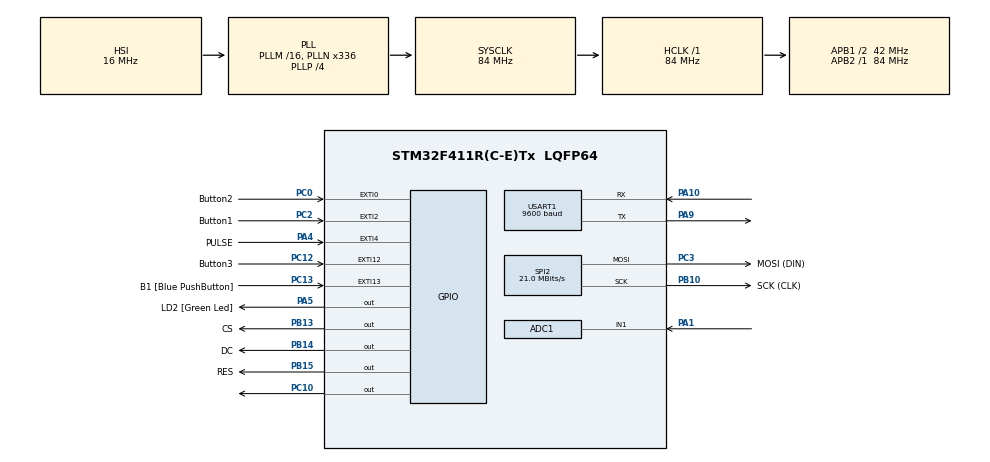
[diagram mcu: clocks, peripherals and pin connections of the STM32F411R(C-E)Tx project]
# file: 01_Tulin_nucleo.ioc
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ADC1.Channel-8\#ChannelRegularConversion=ADC_CHANNEL_1
ADC1.ClockPrescaler=ADC_CLOCK_SYNC_PCLK_DIV8
ADC1.ContinuousConvMode=ENABLE
ADC1.DMAContinuousRequests=ENABLE
ADC1.NbrOfConversionFlag=1
ADC1.Rank-8\#ChannelRegularConversion=1
ADC1.SamplingTime-8\#ChannelRegularConversion=ADC_SAMPLETIME_144CYCLES
ADC1.ScanConvMode=ENABLE
ADC1.master=1
Dma.ADC1.0.Direction=DMA_PERIPH_TO_MEMORY
Dma.ADC1.0.FIFOMode=DMA_FIFOMODE_DISABLE
Dma.ADC1.0.Instance=DMA2_Stream0
Dma.ADC1.0.MemDataAlignment=DMA_MDATAALIGN_HALFWORD
Dma.ADC1.0.MemInc=DMA_MINC_ENABLE
Dma.ADC1.0.Mode=DMA_CIRCULAR
Dma.ADC1.0.PeriphDataAlignment=DMA_PDATAALIGN_HALFWORD
Dma.ADC1.0.PeriphInc=DMA_PINC_DISABLE
Dma.ADC1.0.Priority=DMA_PRIORITY_LOW
Dma.Request0=ADC1
Dma.Request1=USART1_TX
Dma.Request2=USART1_RX
Dma.USART1_RX.2.Direction=DMA_PERIPH_TO_MEMORY
Dma.USART1_RX.2.FIFOMode=DMA_FIFOMODE_DISABLE
Dma.USART1_RX.2.Instance=DMA2_Stream2
Dma.USART1_RX.2.MemDataAlignment=DMA_MDATAALIGN_BYTE
Dma.USART1_RX.2.MemInc=DMA_MINC_ENABLE
Dma.USART1_RX.2.Mode=DMA_NORMAL
Dma.USART1_RX.2.PeriphDataAlignment=DMA_PDATAALIGN_BYTE
Dma.USART1_RX.2.PeriphInc=DMA_PINC_DISABLE
Dma.USART1_RX.2.Priority=DMA_PRIORITY_LOW
Dma.USART1_TX.1.Direction=DMA_MEMORY_TO_PERIPH
Dma.USART1_TX.1.FIFOMode=DMA_FIFOMODE_DISABLE
Dma.USART1_TX.1.Instance=DMA2_Stream7
Dma.USART1_TX.1.MemDataAlignment=DMA_MDATAALIGN_BYTE
Dma.USART1_TX.1.MemInc=DMA_MINC_ENABLE
Dma.USART1_TX.1.Mode=DMA_NORMAL
Dma.USART1_TX.1.PeriphDataAlignment=DMA_PDATAALIGN_BYTE
Dma.USART1_TX.1.PeriphInc=DMA_PINC_DISABLE
Dma.USART1_TX.1.Priority=DMA_PRIORITY_LOW
Mcu.Family=STM32F4
Mcu.Name=STM32F411R(C-E)Tx
Mcu.Package=LQFP64
NVIC.DMA2_Stream0_IRQn=true\:0\:0\:false\:false\:true\:false
NVIC.DMA2_Stream2_IRQn=true\:0\:0\:false\:false\:true\:false
NVIC.DMA2_Stream7_IRQn=true\:0\:0\:false\:false\:true\:false
NVIC.EXTI0_IRQn=true\:0\:0\:false\:false\:true\:true
NVIC.EXTI2_IRQn=true\:0\:0\:false\:false\:true\:true
NVIC.EXTI4_IRQn=true\:0\:0\:false\:false\:true\:true
NVIC.PriorityGroup=NVIC_PRIORITYGROUP_0
NVIC.TIM1_UP_TIM10_IRQn=true\:0\:0\:false\:false\:true\:true
NVIC.USART1_IRQn=true\:0\:0\:false\:false\:true\:true
PA1.Signal=ADCx_IN1
PA10.Mode=Asynchronous
PA10.Signal=USART1_RX
PA13.GPIO_Label=TMS
PA13.Signal=SYS_JTMS-SWDIO
PA14.GPIO_Label=TCK
PA14.Signal=SYS_JTCK-SWCLK
PA2.GPIO_Label=USART_TX
PA2.Signal=USART2_TX
PA3.GPIO_Label=USART_RX
PA3.Signal=USART2_RX
PA4.GPIO_Label=PULSE
PA4.Signal=GPXTI4
PA5.GPIO_Label=LD2 [Green Led]
PA5.Signal=GPIO_Output
PA9.Mode=Asynchronous
PA9.Signal=USART1_TX
PB10.GPIO_Label=SCK (CLK)
PB10.Mode=TX_Only_Simplex_Unidirect_Master
PB10.Signal=SPI2_SCK
PB13.GPIO_Label=CS
PB13.Signal=GPIO_Output
PB14.GPIO_Label=DC
PB14.Signal=GPIO_Output
PB15.GPIO_Label=RES
PB15.Signal=GPIO_Output
PB3.GPIO_Label=SWO
PB3.Signal=SYS_JTDO-SWO
PC0.GPIO_Label=Button2
PC0.Signal=GPXTI0
PC10.Signal=GPIO_Output
PC12.GPIO_Label=Button3
PC12.Signal=GPXTI12
PC13-ANTI_TAMP.GPIO_Label=B1 [Blue PushButton]
PC13-ANTI_TAMP.GPIO_ModeDefaultEXTI=GPIO_MODE_IT_FALLING
PC13-ANTI_TAMP.Signal=GPXTI13
PC14-OSC32_IN.Signal=RCC_OSC32_IN
PC15-OSC32_OUT.Signal=RCC_OSC32_OUT
PC2.GPIO_Label=Button1
PC2.Signal=GPXTI2
PC3.GPIO_Label=MOSI (DIN)
PC3.Mode=TX_Only_Simplex_Unidirect_Master
PC3.Signal=SPI2_MOSI
PH0\ -\ OSC_IN.Signal=RCC_OSC_IN
PH1\ -\ OSC_OUT.Signal=RCC_OSC_OUT
ProjectManager.HeapSize=0x200
ProjectManager.StackSize=0x400
ProjectManager.TargetToolchain=MDK-ARM V5
RCC.48MHZClocksFreq_Value=84000000
RCC.AHBFreq_Value=84000000
RCC.APB1CLKDivider=RCC_HCLK_DIV2
RCC.APB1Freq_Value=42000000
RCC.APB1TimFreq_Value=84000000
RCC.APB2Freq_Value=84000000
RCC.APB2TimFreq_Value=84000000
RCC.CortexFreq_Value=84000000
RCC.FLatency-AdvancedSettings=FLASH_LATENCY_2
RCC.HCLKFreq_Value=84000000
RCC.HSE_VALUE=8000000
RCC.HSI_VALUE=16000000
RCC.LSE_VALUE=32768
RCC.PLLN=336
RCC.PLLP=RCC_PLLP_DIV4
RCC.SYSCLKFreq_VALUE=84000000
RCC.SYSCLKSource=RCC_SYSCLKSOURCE_PLLCLK
RCC.VCOOutputFreq_Value=336000000
SH.ADCx_IN1.0=ADC1_IN1,IN1
SPI2.CLKPhase=SPI_PHASE_2EDGE
SPI2.CLKPolarity=SPI_POLARITY_HIGH
SPI2.CalculateBaudRate=21.0 MBits/s
SPI2.Direction=SPI_DIRECTION_2LINES
SPI2.Mode=SPI_MODE_MASTER
SPI2.VirtualType=VM_MASTER
TIM10.Period=999
TIM10.Prescaler=83
USART1.BaudRate=9600
USART1.VirtualMode=VM_ASYNC
VP_TIM10_VS_ClockSourceINT.Mode=Enable_Timer
board=NUCLEO-F411RE

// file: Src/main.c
/**
*******************************************************************************
 * File Name          : main.c
  * Description        : Main program body (Nucleo)
	* Author             : Gradowski Kamil
	* Project name       : Tulin
  ******************************************************************************
  */
#include "main.h"
#include "stm32f4xx_hal.h"
#include "SSD1331.h"

ADC_HandleTypeDef hadc1;
DMA_HandleTypeDef hdma_adc1;

SPI_HandleTypeDef hspi2;

TIM_HandleTypeDef htim10;

UART_HandleTypeDef huart1;
DMA_HandleTypeDef hdma_usart1_tx;
DMA_HandleTypeDef hdma_usart1_rx;

/* USER CODE BEGIN PV */
/* Private variables ---------------------------------------------------------*/
uint16_t Pulsometr;
int ile = 0;
uint32_t czas = 0;
uint8_t puls = 65;
uint8_t stary_puls = 65;
uint8_t zn_puls = 0;
volatile uint8_t k = 0, l = 0, flaga = 0, flaga2 = 0, tempo = 65;
//uint32_t cnt = 0; // Licznik
uint8_t data[50]; // Tablica przechowujaca wysylana wiadomosc.
uint16_t size = 0; // Rozmiar wysylanej wiadomosci
uint8_t Received[1] = {0} ;
uint8_t sygnal = 0 , flaga_rs =0;

/* USER CODE END PV */

void SystemClock_Config(void);
static void MX_GPIO_Init(void);
static void MX_DMA_Init(void);
static void MX_ADC1_Init(void);
static void MX_TIM10_Init(void);
static void MX_SPI2_Init(void);
static void MX_USART1_UART_Init(void);

/* USER CODE BEGIN PFP */
/* Private function prototypes -----------------------------------------------*/
void HAL_GPIO_EXTI_Callback(uint16_t GPIO_Pin){  //wywolanie funkcji przerwan zewnetrznych
	/*       Funkcja zliczania impulsow pulsomierza
	zmienna ile przechowuje informacje o ilosci impulsow z pulsomierza*/
	if(GPIO_Pin == PULSE_Pin){              //jezeli przerwanie pochodzi od pinu pulsomierza
	ile = ile + 1;                          // inkrementacja zmiennej
	if(ile>=30) ile = 0 ;
	}

	if(GPIO_Pin == Button1_Pin)
	{
		//if(HAL_GPIO_ReadPin(Button1_GPIO_Port, Button1_Pin) == GPIO_PIN_RESET)
		//	k++;
		flaga = 1;

	}
	if(GPIO_Pin == Button2_Pin)
	{
		l=1;
	}

}
/*Przerwanie pochodzace od timera wywolywane po uplynieciu wczesniej okreslonego czasu */
void HAL_TIM_PeriodElapsedCallback(TIM_HandleTypeDef *htim){
 if(htim->Instance == TIM10){ // Jezeli przerwanie pochodzi od timera 10
	 czas = czas + 1; // inkrementacja zmiennej sluzacej do obliczania czasu

	 if(czas >= 10000)      // Wywolywane co 10s
	 {
		/* Zmienna puls przechowuje informacje o bierzacym pulsie
		 Zmienna zn_puls przechowuje wartosc pulsu bedacego srednia wazona
		 obecnego pulsu i wczesniejszego */
		 puls= ile*6;                            // zlicza przez 10s, wiec trzeba pomnozyc przez 6
		 zn_puls = (((stary_puls) + (2*puls) )/3); // usrednienei pulsu z wart poprzenia
		 stary_puls = puls;                      //przypisanie obecnego pulsu jako wczesniejszego
		 ile = 0;                                //wyzerowanie ilosci impulsow
		 czas=0;                                 //wyzerowanie czasu

		 /* decydowanie o tempie */
			if(zn_puls < (tempo - 5)) sygnal = 2 ;         // dyczyja o wyslaniu polecenia przyspiesz
				else if (zn_puls > (tempo + 5)) sygnal = 8;  // dyczyja o wyslaniu polecenia zwolnij
				else sygnal = 3;                             // decyzja o nie zmienianiu tempa

		 /* flaga nakazujaca nadanie wiadomosci */
		 flaga_rs = 1;

	 }
 }
}
 // UART //
void HAL_UART_RxCpltCallback(UART_HandleTypeDef *huart) {

 static uint8_t Data[1]; // Tablica przechowujaca wysylana wiadomosc.

 //sprintf(Data, "Odebrana wiadomosc: %s\n\r", Received);
Data[0] = sygnal;
if(flaga_rs == 1)
{
 HAL_UART_Transmit_DMA(&huart1, Data, 1); // Rozpoczecie nadawania danych z wykorzystaniem przerwan
	flaga_rs = 0;
}
 HAL_UART_Receive_DMA(&huart1, Received, 1); // Ponowne wlaczenie nasluchiwania
// HAL_GPIO_TogglePin(LED_BLUE_GPIO_Port, LED_BLUE_Pin);
}

void liczenie_pulsu()
{

}

void menu1(uint8_t klik)
{

	//while(l==0)
	{
	switch(klik){
		case 0:
		ssd1331_display_string(0, 0, "    MENU  ", FONT_1608, GREEN);
		ssd1331_draw_line(2, 18, 92, 18, YELLOW);
		ssd1331_display_string(2, 20, " Wybierz puls:", FONT_1206, WHITE);
		ssd1331_display_string(2, 34, "- 100 [1/s]", FONT_1206, GREY);
		tempo = 100;

	break;

		case 1:
		ssd1331_display_string(0, 0, "    MENU  ", FONT_1608, GREEN);
		ssd1331_draw_line(2, 18, 92, 18, YELLOW);
		ssd1331_display_string(2, 20, " Wybierz puls:", FONT_1206, WHITE);
		ssd1331_display_string(2, 34, "- 110 [1/s]", FONT_1206, GREY);
		tempo = 110;
		break;

		case 2:
		ssd1331_display_string(0, 0, "    MENU  ", FONT_1608, GREEN);
		ssd1331_draw_line(2, 18, 92, 18, YELLOW);
		ssd1331_display_string(2, 20, " Wybierz puls:", FONT_1206, WHITE);
		ssd1331_display_string(2, 34, "- 120 [1/s]", FONT_1206, GREY);
		tempo = 120;
		break;

		case 3:
		ssd1331_display_string(0, 0, "    MENU  ", FONT_1608, GREEN);
		ssd1331_draw_line(2, 18, 92, 18, YELLOW);
		ssd1331_display_string(2, 20, " Wybierz puls:", FONT_1206, WHITE);
		ssd1331_display_string(2, 34, "- 130 [1/s]", FONT_1206, GREY);
		tempo = 130;
		break;

	}

}
}

void menu2(uint8_t klik)
{

}
/* USER CODE END PFP */

int main(void)
{

  /* MCU Configuration----------------------------------------------------------*/

  /* Reset of all peripherals, Initializes the Flash interface and the Systick. */
  HAL_Init();

  /* Configure the system clock */
  SystemClock_Config();

  /* Initialize all configured peripherals */
  MX_GPIO_Init();
  MX_DMA_Init();
  MX_ADC1_Init();
  MX_TIM10_Init();
  MX_SPI2_Init();
  MX_USART1_UART_Init();

  /* USER CODE BEGIN 2 */
HAL_ADC_Start_DMA(&hadc1, (uint32_t*)Pulsometr, 1);
HAL_TIM_Base_Start_IT(&htim10);

//HAL_UART_Transmit_IT(&huart1, data, size); // Rozpoczecie nadawania danych z wykorzystaniem przerwan

ssd1331_init();
ssd1331_clear_screen(BLACK);
ssd1331_display_string(0, 10, " Tulin_v.2 ", FONT_1608, RED);
ssd1331_display_string(0, 50, " GRADOWSKI Kamil", FONT_1206 , YELLOW);

HAL_Delay(1000);
ssd1331_clear_screen(BLACK);
ssd1331_display_string(0, 0, "    MENU  ", FONT_1608, GREEN);
ssd1331_draw_line(2, 18, 92, 18, YELLOW);
ssd1331_display_string(2, 20, " Wybierz puls:", FONT_1206, WHITE);

  /* USER CODE END 2 */

  /* Infinite loop */
  while (1)
  {

  /* USER CODE END WHILE */
		while(l==0)
		{
	while(flaga ==1)
	{
		while(HAL_GPIO_ReadPin(Button1_GPIO_Port, Button1_Pin) == GPIO_PIN_SET)
		{
			ssd1331_clear_screen(BLACK);
			k++;
			if(k>=4) k=0;
			flaga =0;
			break;

		}
	}
menu1(k);
}
		if(flaga2 == 0)
	{
	ssd1331_display_string(0, 0, "    MENU  ", FONT_1608, GREEN);
	ssd1331_draw_line(2, 18, 92, 18, YELLOW);
	ssd1331_display_string(2, 50, " WYBRALES PULS", FONT_1206, RED);
	HAL_Delay(1000);
	ssd1331_clear_screen(BLACK);
	ssd1331_display_string(0, 10, "  START za:  ", FONT_1608, GREEN);
	ssd1331_display_string(0, 30, "    3      ", FONT_1608, RED);
	HAL_GPIO_WritePin(GPIOC, GPIO_PIN_10, GPIO_PIN_RESET);
	HAL_Delay(1000);
	ssd1331_clear_screen(BLACK);
	ssd1331_display_string(0, 10, "  START za:  ", FONT_1608, GREEN);
	ssd1331_display_string(0, 30, "    2      ", FONT_1608, RED);
	HAL_GPIO_WritePin(GPIOC, GPIO_PIN_10, GPIO_PIN_SET);
	HAL_Delay(1000);
	ssd1331_clear_screen(BLACK);
	ssd1331_display_string(0, 10, "  START za:  ", FONT_1608, GREEN);
	ssd1331_display_string(0, 30, "    1      ", FONT_1608, RED);
	HAL_GPIO_WritePin(GPIOC, GPIO_PIN_10, GPIO_PIN_RESET);
	HAL_Delay(1000);
	ssd1331_clear_screen(BLACK);
	ssd1331_display_string(0, 10, "  START za:  ", FONT_1608, GREEN);
	ssd1331_display_string(0, 30, "    0      ", FONT_1608, RED);
	HAL_GPIO_WritePin(GPIOC, GPIO_PIN_10, GPIO_PIN_SET);
	flaga2=1;

 }

	HAL_Delay(1000);
	ssd1331_clear_screen(BLACK);
	ssd1331_display_string(3, 30, " ! START !", FONT_1608, RED);
  }

}

/** System Clock Configuration
*/
void SystemClock_Config(void)
{

  RCC_OscInitTypeDef RCC_OscInitStruct;
  RCC_ClkInitTypeDef RCC_ClkInitStruct;

    /**Configure the main internal regulator output voltage
    */
  __HAL_RCC_PWR_CLK_ENABLE();

  __HAL_PWR_VOLTAGESCALING_CONFIG(PWR_REGULATOR_VOLTAGE_SCALE1);

    /**Initializes the CPU, AHB and APB busses clocks
    */
  RCC_OscInitStruct.OscillatorType = RCC_OSCILLATORTYPE_HSI;
  RCC_OscInitStruct.HSIState = RCC_HSI_ON;
  RCC_OscInitStruct.HSICalibrationValue = 16;
  RCC_OscInitStruct.PLL.PLLState = RCC_PLL_ON;
  RCC_OscInitStruct.PLL.PLLSource = RCC_PLLSOURCE_HSI;
  RCC_OscInitStruct.PLL.PLLM = 16;
  RCC_OscInitStruct.PLL.PLLN = 336;
  RCC_OscInitStruct.PLL.PLLP = RCC_PLLP_DIV4;
  RCC_OscInitStruct.PLL.PLLQ = 4;
  if (HAL_RCC_OscConfig(&RCC_OscInitStruct) != HAL_OK)
  {
    _Error_Handler(__FILE__, __LINE__);
  }

    /**Initializes the CPU, AHB and APB busses clocks
    */
  RCC_ClkInitStruct.ClockType = RCC_CLOCKTYPE_HCLK|RCC_CLOCKTYPE_SYSCLK
                              |RCC_CLOCKTYPE_PCLK1|RCC_CLOCKTYPE_PCLK2;
  RCC_ClkInitStruct.SYSCLKSource = RCC_SYSCLKSOURCE_PLLCLK;
  RCC_ClkInitStruct.AHBCLKDivider = RCC_SYSCLK_DIV1;
  RCC_ClkInitStruct.APB1CLKDivider = RCC_HCLK_DIV2;
  RCC_ClkInitStruct.APB2CLKDivider = RCC_HCLK_DIV1;

  if (HAL_RCC_ClockConfig(&RCC_ClkInitStruct, FLASH_LATENCY_2) != HAL_OK)
  {
    _Error_Handler(__FILE__, __LINE__);
  }

    /**Configure the Systick interrupt time
    */
  HAL_SYSTICK_Config(HAL_RCC_GetHCLKFreq()/1000);

    /**Configure the Systick
    */
  HAL_SYSTICK_CLKSourceConfig(SYSTICK_CLKSOURCE_HCLK);

  /* SysTick_IRQn interrupt configuration */
  HAL_NVIC_SetPriority(SysTick_IRQn, 0, 0);
}

/* ADC1 init function */
static void MX_ADC1_Init(void)
{

  ADC_ChannelConfTypeDef sConfig;

    /**Configure the global features of the ADC (Clock, Resolution, Data Alignment and number of conversion)
    */
  hadc1.Instance = ADC1;
  hadc1.Init.ClockPrescaler = ADC_CLOCK_SYNC_PCLK_DIV8;
  hadc1.Init.Resolution = ADC_RESOLUTION_12B;
  hadc1.Init.ScanConvMode = ENABLE;
  hadc1.Init.ContinuousConvMode = ENABLE;
  hadc1.Init.DiscontinuousConvMode = DISABLE;
  hadc1.Init.ExternalTrigConvEdge = ADC_EXTERNALTRIGCONVEDGE_NONE;
  hadc1.Init.ExternalTrigConv = ADC_SOFTWARE_START;
  hadc1.Init.DataAlign = ADC_DATAALIGN_RIGHT;
  hadc1.Init.NbrOfConversion = 1;
  hadc1.Init.DMAContinuousRequests = ENABLE;
  hadc1.Init.EOCSelection = ADC_EOC_SINGLE_CONV;
  if (HAL_ADC_Init(&hadc1) != HAL_OK)
  {
    _Error_Handler(__FILE__, __LINE__);
  }

    /**Configure for the selected ADC regular channel its corresponding rank in the sequencer and its sample time.
    */
  sConfig.Channel = ADC_CHANNEL_1;
  sConfig.Rank = 1;
  sConfig.SamplingTime = ADC_SAMPLETIME_144CYCLES;
  if (HAL_ADC_ConfigChannel(&hadc1, &sConfig) != HAL_OK)
  {
    _Error_Handler(__FILE__, __LINE__);
  }

}

/* SPI2 init function */
static void MX_SPI2_Init(void)
{

  /* SPI2 parameter configuration*/
  hspi2.Instance = SPI2;
  hspi2.Init.Mode = SPI_MODE_MASTER;
  hspi2.Init.Direction = SPI_DIRECTION_2LINES;
  hspi2.Init.DataSize = SPI_DATASIZE_8BIT;
  hspi2.Init.CLKPolarity = SPI_POLARITY_HIGH;
  hspi2.Init.CLKPhase = SPI_PHASE_2EDGE;
  hspi2.Init.NSS = SPI_NSS_SOFT;
  hspi2.Init.BaudRatePrescaler = SPI_BAUDRATEPRESCALER_2;
  hspi2.Init.FirstBit = SPI_FIRSTBIT_MSB;
  hspi2.Init.TIMode = SPI_TIMODE_DISABLE;
  hspi2.Init.CRCCalculation = SPI_CRCCALCULATION_DISABLE;
  hspi2.Init.CRCPolynomial = 10;
  if (HAL_SPI_Init(&hspi2) != HAL_OK)
  {
    _Error_Handler(__FILE__, __LINE__);
  }

}

/* TIM10 init function */
static void MX_TIM10_Init(void)
{

  htim10.Instance = TIM10;
  htim10.Init.Prescaler = 83;
  htim10.Init.CounterMode = TIM_COUNTERMODE_UP;
  htim10.Init.Period = 999;
  htim10.Init.ClockDivision = TIM_CLOCKDIVISION_DIV1;
  if (HAL_TIM_Base_Init(&htim10) != HAL_OK)
  {
    _Error_Handler(__FILE__, __LINE__);
  }

}

/* USART1 init function */
static void MX_USART1_UART_Init(void)
{

  huart1.Instance = USART1;
  huart1.Init.BaudRate = 9600;
  huart1.Init.WordLength = UART_WORDLENGTH_8B;
  huart1.Init.StopBits = UART_STOPBITS_1;
  huart1.Init.Parity = UART_PARITY_NONE;
  huart1.Init.Mode = UART_MODE_TX_RX;
  huart1.Init.HwFlowCtl = UART_HWCONTROL_NONE;
  huart1.Init.OverSampling = UART_OVERSAMPLING_16;
  if (HAL_UART_Init(&huart1) != HAL_OK)
  {
    _Error_Handler(__FILE__, __LINE__);
  }

}

static void MX_DMA_Init(void)
{
  /* DMA controller clock enable */
  __HAL_RCC_DMA2_CLK_ENABLE();

  /* DMA interrupt init */
  /* DMA2_Stream0_IRQn interrupt configuration */
  HAL_NVIC_SetPriority(DMA2_Stream0_IRQn, 0, 0);
  HAL_NVIC_EnableIRQ(DMA2_Stream0_IRQn);
  /* DMA2_Stream2_IRQn interrupt configuration */
  HAL_NVIC_SetPriority(DMA2_Stream2_IRQn, 0, 0);
  HAL_NVIC_EnableIRQ(DMA2_Stream2_IRQn);
  /* DMA2_Stream7_IRQn interrupt configuration */
  HAL_NVIC_SetPriority(DMA2_Stream7_IRQn, 0, 0);
  HAL_NVIC_EnableIRQ(DMA2_Stream7_IRQn);

}

/** Configure pins as
        * Analog
        * Input
        * Output
        * EVENT_OUT
        * EXTI
     PA2   ------> USART2_TX
     PA3   ------> USART2_RX
*/
static void MX_GPIO_Init(void)
{

  GPIO_InitTypeDef GPIO_InitStruct;

  /* GPIO Ports Clock Enable */
  __HAL_RCC_GPIOC_CLK_ENABLE();
  __HAL_RCC_GPIOH_CLK_ENABLE();
  __HAL_RCC_GPIOA_CLK_ENABLE();
  __HAL_RCC_GPIOB_CLK_ENABLE();

  /*Configure GPIO pin Output Level */
  HAL_GPIO_WritePin(LD2_GPIO_Port, LD2_Pin, GPIO_PIN_RESET);

  /*Configure GPIO pin Output Level */
  HAL_GPIO_WritePin(GPIOB, CS_Pin|DC_Pin|RES_Pin, GPIO_PIN_RESET);

  /*Configure GPIO pin Output Level */
  HAL_GPIO_WritePin(GPIOC, GPIO_PIN_10, GPIO_PIN_RESET);

  /*Configure GPIO pin : B1_Pin */
  GPIO_InitStruct.Pin = B1_Pin;
  GPIO_InitStruct.Mode = GPIO_MODE_IT_FALLING;
  GPIO_InitStruct.Pull = GPIO_NOPULL;
  HAL_GPIO_Init(B1_GPIO_Port, &GPIO_InitStruct);

  /*Configure GPIO pins : Button2_Pin Button1_Pin Button3_Pin */
  GPIO_InitStruct.Pin = Button2_Pin|Button1_Pin|Button3_Pin;
  GPIO_InitStruct.Mode = GPIO_MODE_IT_RISING;
  GPIO_InitStruct.Pull = GPIO_NOPULL;
  HAL_GPIO_Init(GPIOC, &GPIO_InitStruct);

  /*Configure GPIO pins : USART_TX_Pin USART_RX_Pin */
  GPIO_InitStruct.Pin = USART_TX_Pin|USART_RX_Pin;
  GPIO_InitStruct.Mode = GPIO_MODE_AF_PP;
  GPIO_InitStruct.Pull = GPIO_NOPULL;
  GPIO_InitStruct.Speed = GPIO_SPEED_FREQ_VERY_HIGH;
  GPIO_InitStruct.Alternate = GPIO_AF7_USART2;
  HAL_GPIO_Init(GPIOA, &GPIO_InitStruct);

  /*Configure GPIO pin : PULSE_Pin */
  GPIO_InitStruct.Pin = PULSE_Pin;
  GPIO_InitStruct.Mode = GPIO_MODE_IT_RISING;
  GPIO_InitStruct.Pull = GPIO_NOPULL;
  HAL_GPIO_Init(PULSE_GPIO_Port, &GPIO_InitStruct);

  /*Configure GPIO pin : LD2_Pin */
  GPIO_InitStruct.Pin = LD2_Pin;
  GPIO_InitStruct.Mode = GPIO_MODE_OUTPUT_PP;
  GPIO_InitStruct.Pull = GPIO_NOPULL;
  GPIO_InitStruct.Speed = GPIO_SPEED_FREQ_LOW;
  HAL_GPIO_Init(LD2_GPIO_Port, &GPIO_InitStruct);

  /*Configure GPIO pins : CS_Pin DC_Pin RES_Pin */
  GPIO_InitStruct.Pin = CS_Pin|DC_Pin|RES_Pin;
  GPIO_InitStruct.Mode = GPIO_MODE_OUTPUT_PP;
  GPIO_InitStruct.Pull = GPIO_NOPULL;
  GPIO_InitStruct.Speed = GPIO_SPEED_FREQ_LOW;
  HAL_GPIO_Init(GPIOB, &GPIO_InitStruct);

  /*Configure GPIO pin : PC10 */
  GPIO_InitStruct.Pin = GPIO_PIN_10;
  GPIO_InitStruct.Mode = GPIO_MODE_OUTPUT_PP;
  GPIO_InitStruct.Pull = GPIO_NOPULL;
  GPIO_InitStruct.Speed = GPIO_SPEED_FREQ_LOW;
  HAL_GPIO_Init(GPIOC, &GPIO_InitStruct);

  /* EXTI interrupt init*/
  HAL_NVIC_SetPriority(EXTI0_IRQn, 0, 0);
  HAL_NVIC_EnableIRQ(EXTI0_IRQn);

  HAL_NVIC_SetPriority(EXTI2_IRQn, 0, 0);
  HAL_NVIC_EnableIRQ(EXTI2_IRQn);

  HAL_NVIC_SetPriority(EXTI4_IRQn, 0, 0);
  HAL_NVIC_EnableIRQ(EXTI4_IRQn);

}

void _Error_Handler(char * file, int line)
{
  while(1)
  {
  }
}

/************************ (C) COPYRIGHT STMicroelectronics *****END OF FILE****/
